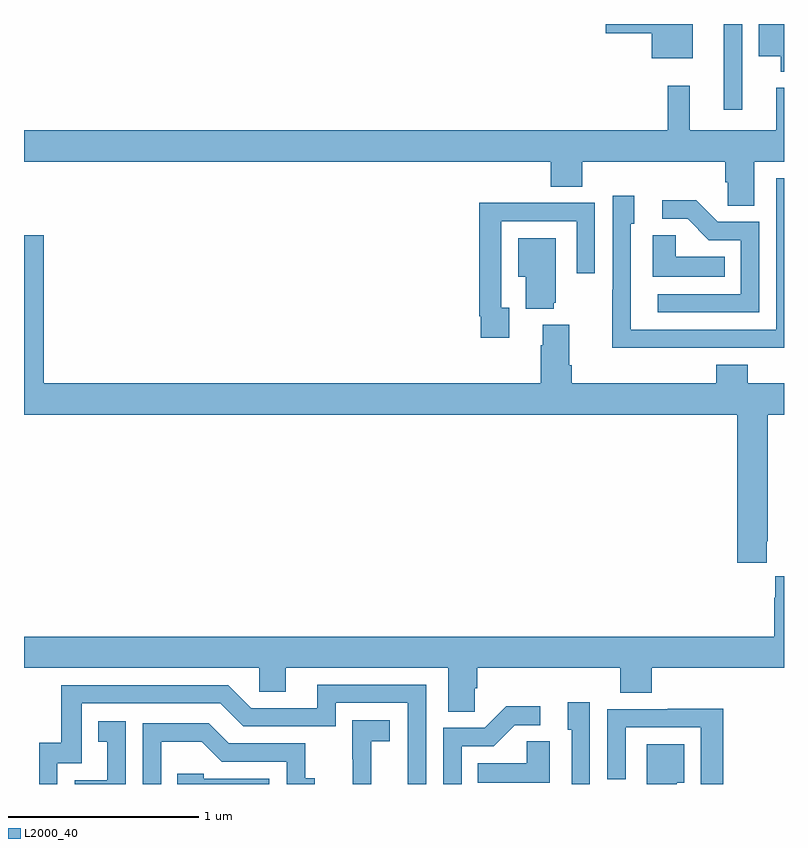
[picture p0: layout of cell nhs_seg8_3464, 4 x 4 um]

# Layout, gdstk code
import gdstk
lib = gdstk.Library(unit=1e-6, precision=1e-09)
def R(c, l, rs):  # rectangles x0, y0, x1, y1
    for r in rs: c.add(gdstk.rectangle(r[:2], r[2:], *l))
def P(c, l, *ps):  # polygons
    for p in ps: c.add(gdstk.Polygon(p, *l))
L2000_40 = (2000, 40)

nhs_seg8_3464 = lib.new_cell('nhs_seg8_3464')
R(nhs_seg8_3464, L2000_40, [(328.682,1107.45,328.779,1107.9)])
P(nhs_seg8_3464, L2000_40, [(329,1107.9),(328.868,1107.9),(328.868,1107.731),(328.982,1107.731),(328.982,1107.65),(329,1107.65)],
  [(328.519,1107.9),(328.062,1107.9),(328.062,1107.851),(328.304,1107.851),(328.304,1107.719),(328.519,1107.719)],
  [(328.843,1107.176),(329,1107.176),(329,1107.565),(328.958,1107.565),(328.958,1107.34),(328.505,1107.34),(328.505,1107.574),(328.387,1107.574),(328.387,1107.34),(325,1107.34),(325,1107.176),(327.773,1107.176),(327.773,1107.043),(327.938,1107.043),(327.938,1107.176),(328.691,1107.176),(328.691,1107.067),(328.704,1107.067),(328.704,1106.944),(328.843,1106.944)],
  [(328.559,1106.196),(329,1106.196),(329,1107.087),(328.959,1107.087),(328.959,1106.292),(328.194,1106.292),(328.194,1106.85),(328.213,1106.85),(328.213,1106.995),(328.098,1106.995),(328.098,1106.501),(328.096,1106.501),(328.096,1106.195),(328.559,1106.195)],
  [(328.869,1106.859),(328.65,1106.859),(328.537,1106.972),(328.359,1106.972),(328.359,1106.874),(328.493,1106.874),(328.604,1106.763),(328.773,1106.763),(328.773,1106.478),(328.335,1106.478),(328.335,1106.382),(328.869,1106.382)],
  [(327.553,1106.406),(327.513,1106.406),(327.513,1106.862),(327.909,1106.862),(327.909,1106.589),(328.005,1106.589),(328.005,1106.958),(327.689,1106.958),(327.689,1106.96),(327.397,1106.96),(327.397,1106.362),(327.405,1106.362),(327.405,1106.25),(327.553,1106.25)],
  [(328.688,1106.674),(328.431,1106.674),(328.431,1106.789),(328.31,1106.789),(328.31,1106.57),(328.688,1106.57)],
  [(328.909,1105.177),(328.914,1105.177),(328.914,1105.844),(329,1105.844),(329,1106.008),(328.808,1106.008),(328.808,1106.107),(328.643,1106.107),(328.643,1106.008),(327.884,1106.008),(327.884,1106.104),(327.871,1106.104),(327.871,1106.317),(327.731,1106.317),(327.731,1106.21),(327.719,1106.21),(327.719,1106.008),(325.103,1106.008),(325.103,1106.788),(325,1106.788),(325,1105.844),(328.754,1105.844),(328.754,1105.065),(328.909,1105.065)],
  [(327.788,1106.433),(327.799,1106.433),(327.799,1106.773),(327.602,1106.773),(327.602,1106.57),(327.641,1106.57),(327.641,1106.402),(327.788,1106.402)],
  [(325,1104.512),(326.238,1104.512),(326.238,1104.385),(326.377,1104.385),(326.377,1104.512),(327.233,1104.512),(327.233,1104.28),(327.372,1104.28),(327.372,1104.403),(327.386,1104.403),(327.386,1104.512),(328.139,1104.512),(328.139,1104.379),(328.304,1104.379),(328.304,1104.512),(329,1104.512),(329,1104.994),(328.955,1104.994),(328.955,1104.881),(328.949,1104.881),(328.949,1104.676),(325,1104.676)],
  [(325.176,1104.009),(325.305,1104.009),(325.305,1104.324),(326.034,1104.324),(326.154,1104.204),(326.64,1104.204),(326.64,1104.327),(327.021,1104.327),(327.021,1103.9),(327.117,1103.9),(327.117,1104.423),(326.543,1104.423),(326.543,1104.3),(326.196,1104.3),(326.076,1104.42),(325.197,1104.42),(325.197,1104.118),(325.079,1104.118),(325.079,1103.9),(325.176,1103.9)],
  [(327.978,1104.331),(327.863,1104.331),(327.863,1104.186),(327.882,1104.186),(327.882,1103.9),(327.978,1103.9)],
  [(327.303,1104.099),(327.472,1104.099),(327.583,1104.21),(327.718,1104.21),(327.718,1104.308),(327.539,1104.308),(327.426,1104.195),(327.207,1104.195),(327.207,1103.9),(327.303,1103.9)],
  [(328.679,1104.296),(328.387,1104.296),(328.387,1104.294),(328.071,1104.294),(328.071,1103.925),(328.167,1103.925),(328.167,1104.198),(328.563,1104.198),(328.563,1103.9),(328.679,1103.9)],
  [(326.828,1104.125),(326.926,1104.125),(326.926,1104.235),(326.728,1104.235),(326.728,1104.029),(326.729,1104.029),(326.729,1103.9),(326.828,1103.9)],
  [(325.536,1104.229),(325.39,1104.229),(325.39,1104.123),(325.439,1104.123),(325.439,1103.919),(325.266,1103.919),(325.266,1103.9),(325.536,1103.9)],
  [(325.722,1104.122),(325.936,1104.122),(326.04,1104.018),(326.382,1104.018),(326.382,1103.9),(326.53,1103.9),(326.53,1103.929),(326.481,1103.929),(326.481,1104.114),(326.077,1104.114),(325.972,1104.219),(325.626,1104.219),(325.626,1103.9),(325.722,1103.9)],
  [(327.766,1104.125),(327.645,1104.125),(327.645,1104.01),(327.388,1104.01),(327.388,1103.906),(327.766,1103.906)],
  [(328.435,1103.906),(328.474,1103.906),(328.474,1104.109),(328.277,1104.109),(328.277,1103.9),(328.435,1103.9)],
  [(326.292,1103.928),(325.947,1103.928),(325.947,1103.955),(325.807,1103.955),(325.807,1103.9),(326.292,1103.9)])

lib.write_gds('nhs_seg8_3464.gds')
